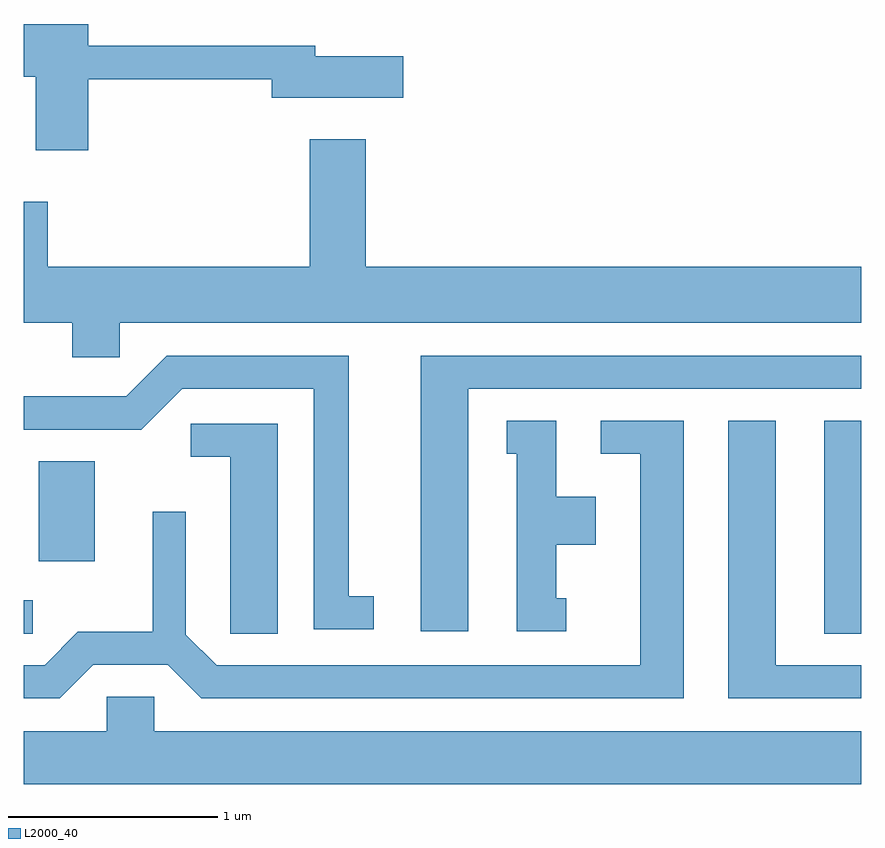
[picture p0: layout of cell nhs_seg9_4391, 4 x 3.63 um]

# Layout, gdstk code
import gdstk
lib = gdstk.Library(unit=1e-6, precision=1e-09)
def R(c, l, rs):  # rectangles x0, y0, x1, y1
    for r in rs: c.add(gdstk.rectangle(r[:2], r[2:], *l))
def P(c, l, *ps):  # polygons
    for p in ps: c.add(gdstk.Polygon(p, *l))
L2000_40 = (2000, 40)

nhs_seg9_4391 = lib.new_cell('nhs_seg9_4391')
R(nhs_seg9_4391, L2000_40, [(313.611,2059.151,313.653,2059.309), (317.436,2059.151,317.611,2060.169), (313.681,2059.496,313.949,2059.974)])
P(nhs_seg9_4391, L2000_40, [(313.919,2061.801),(314.796,2061.801),(314.796,2061.711),(315.424,2061.711),(315.424,2061.909),(315.004,2061.909),(315.004,2061.959),(313.919,2061.959),(313.919,2062.064),(313.611,2062.064),(313.611,2061.811),(313.666,2061.811),(313.666,2061.461),(313.919,2061.461)],
  [(314.069,2060.636),(317.611,2060.636),(317.611,2060.904),(315.244,2060.904),(315.244,2061.514),(314.976,2061.514),(314.976,2060.904),(313.724,2060.904),(313.724,2061.214),(313.611,2061.214),(313.611,2060.636),(313.841,2060.636),(313.841,2060.471),(314.069,2060.471)],
  [(315.283,2059.329),(315.164,2059.329),(315.164,2060.479),(314.294,2060.479),(314.099,2060.284),(313.611,2060.284),(313.611,2060.126),(314.172,2060.126),(314.367,2060.321),(314.996,2060.321),(314.996,2059.171),(315.283,2059.171)],
  [(315.734,2060.321),(317.611,2060.321),(317.611,2060.479),(315.506,2060.479),(315.506,2059.161),(315.734,2059.161)],
  [(317.611,2058.999),(317.204,2058.999),(317.204,2060.169),(316.976,2060.169),(316.976,2058.841),(317.611,2058.841)],
  [(313.942,2059.001),(314.299,2059.001),(314.459,2058.841),(316.764,2058.841),(316.764,2060.169),(316.368,2060.169),(316.368,2060.011),(316.556,2060.011),(316.556,2058.999),(314.532,2058.999),(314.384,2059.146),(314.384,2059.733),(314.226,2059.733),(314.226,2059.159),(313.869,2059.159),(313.709,2058.999),(313.611,2058.999),(313.611,2058.841),(313.782,2058.841)],
  [(316.203,2059.319),(316.154,2059.319),(316.154,2059.576),(316.344,2059.576),(316.344,2059.804),(316.154,2059.804),(316.154,2060.169),(315.918,2060.169),(315.918,2060.011),(315.966,2060.011),(315.966,2059.161),(316.203,2059.161)],
  [(314.824,2060.154),(314.408,2060.154),(314.408,2059.996),(314.596,2059.996),(314.596,2059.151),(314.824,2059.151)],
  [(317.611,2058.684),(314.234,2058.684),(314.234,2058.849),(314.006,2058.849),(314.006,2058.684),(313.611,2058.684),(313.611,2058.432),(317.611,2058.432)])

lib.write_gds('nhs_seg9_4391.gds')
